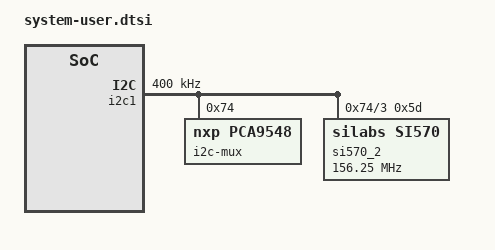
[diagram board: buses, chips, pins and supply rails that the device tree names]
/include/ "system-conf.dtsi"
/ {
};

&i2c1 {
    status = "okay";
    clock-frequency = <400000>;
    i2c-mux@74 { /* u34 */
        compatible = "nxp,pca9548";
        #address-cells = <1>;
        #size-cells = <0>;
        reg = <0x74>;
        i2c@3 { /* i2c mw 74 0 8 */
            #address-cells = <1>;
            #size-cells = <0>;
            reg = <3>;
            si570_2: clock-generator@5d {
                #clock-cells = <0>;
                compatible = "silabs,si570";
                reg = <0x5d>;
                temperature-stability = <50>;
                factory-fout = <156250000>;
                clock-frequency = <156250000>;
            };
        };
    };
};
